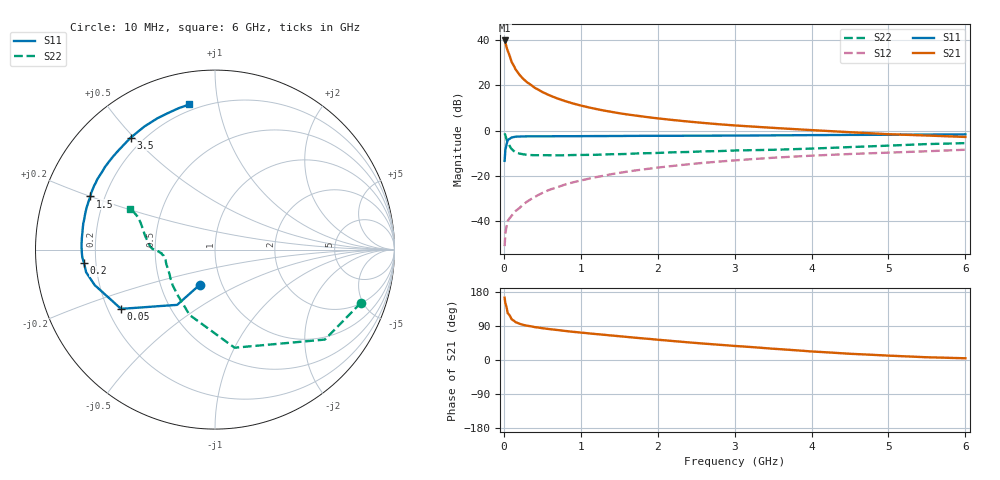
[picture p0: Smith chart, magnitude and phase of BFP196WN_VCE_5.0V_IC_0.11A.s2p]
! Infineon Technologies  Discrete & RF Semiconductors
! BFP196WN
! VCE =  5.0 V,  IC = 0.11 A
! Common Emitter S-Parameters:  Jan 2017
# GHz  S  MA  R  50
!  f  S11  S21  S12  S22
! GHz  MAG  ANG  MAG  ANG  MAG  ANG  MAG  ANG
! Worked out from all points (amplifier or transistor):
!   77 points, 10 MHz to 6 GHz, reference 50 ohm
!   highest |S21| = 40.0 dB at 10 MHz (marker M1)
!   |S21| within 3 dB of that: start of sweep to 36.1 MHz
!   unconditionally stable (mu >= 1): 452.1 MHz to 2.523 GHz
!   at 130 MHz: K = 0.73, MSG = 32.7 dB, |S12| = -36.6 dB
!   at 2.2 GHz: K = 1.02, MAG = 9.4 dB, |S12| = -15.7 dB
!   at 6 GHz: K = 0.92, MSG = 2.8 dB, |S12| = -8.5 dB
!   S11 on the Smith chart (normalised r, x): 10 MHz: 0.79, -0.32; 50 MHz: 0.25, -0.27; 200 MHz: 0.15, -0.05; 1.5 GHz: 0.15, +0.20; 3.5 GHz: 0.15, +0.49; 6 GHz: 0.17, +0.83
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0.01  0.2118 -113.2  100 164.4  0.0027 73.1  0.8656 -20.0
0.02  0.3732 -124.4  88.44 149.6  0.0051 68.7  0.7913 -39.3
0.05  0.6192 -147.8  58.93 123.6  0.0098 53.4  0.5575 -78.7
0.1  0.6992 -163.6  33.57 107.3  0.0127 57.0  0.3911 -111.1
0.15  0.729 -170.0  23.22 100.2  0.0162 59.0  0.3293 -128.8
0.2  0.7335 -174.1  17.59 95.9  0.0188 65.4  0.309 -139.5
0.25  0.7403 -176.6  14.14 92.8  0.0226 65.4  0.2969 -146.1
0.3  0.7424 -178.8  11.84 90.6  0.0262 66.7  0.2879 -151.8
0.4  0.7441 177.9  8.937 86.9  0.0333 70.7  0.2829 -157.9
0.5  0.7445 175.1  7.155 84.0  0.041 71.5  0.2832 -162.4
0.6  0.7447 173.0  5.975 81.3  0.0488 72.1  0.2823 -165.7
0.7  0.7461 171.0  5.119 79.1  0.0554 73.2  0.281 -168.0
0.8  0.7482 168.8  4.48 76.6  0.0635 73.0  0.2822 -169.2
0.9  0.7479 167.0  3.98 74.4  0.0707 72.4  0.2854 -170.6
1.1  0.7513 163.5  3.271 70.4  0.0849 72.0  0.2877 -173.1
1.5  0.7546 156.9  2.42 62.8  0.1146 69.3  0.2985 -176.3
2.1  0.7634 147.6  1.785 51.8  0.1569 64.7  0.3229 -178.8
3.1  0.772 132.8  1.265 35.8  0.2233 55.8  0.3625 176.8
3.5  0.781 127.0  1.145 29.7  0.2485 52.4  0.3731 174.1
4.1  0.7916 118.6  0.999 21.4  0.281 46.9  0.4026 167.5
5.1  0.8063 107.9  0.817 10.7  0.3272 39.0  0.4688 156.9
6  0.8215 100.0  0.719 4.5  0.3743 32.9  0.5247 154.6
